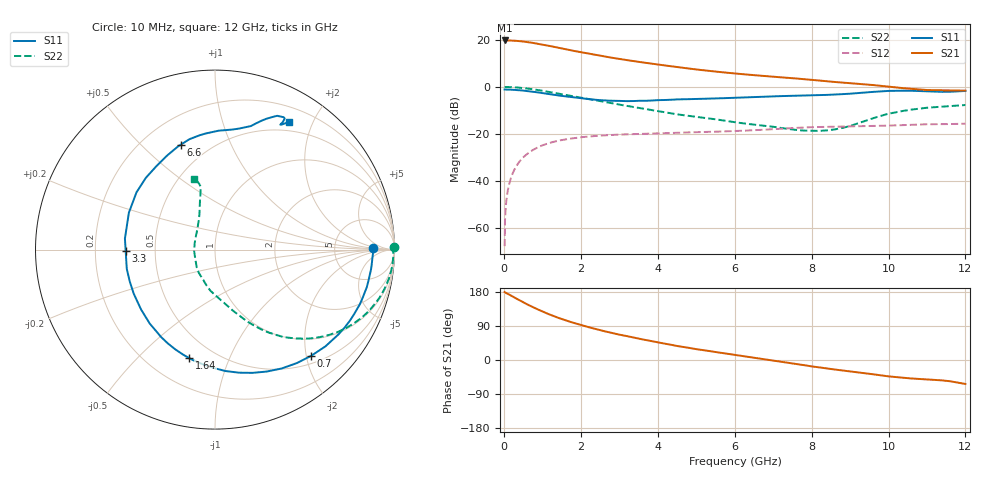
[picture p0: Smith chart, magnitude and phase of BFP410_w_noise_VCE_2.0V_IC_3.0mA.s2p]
! Infineon Technologies  Discrete & RF Semiconductors
! BFP410
! VCE =  2.0 V,  IC =  3.0 mA
! Common Emitter S-Parameters:  Nov 2015
# GHz  S  MA  R  50
!  f  S11  S21  S12  S22
! GHz  MAG  ANG  MAG  ANG  MAG  ANG  MAG  ANG
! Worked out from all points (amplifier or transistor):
!   243 points, 10 MHz to 12 GHz, reference 50 ohm
!   highest |S21| = 19.8 dB at 20 MHz (marker M1)
!   |S21| within 3 dB of that: start of sweep to 1.373 GHz
!   unconditionally stable (mu >= 1): 3.641 GHz to end of sweep
!   at 240 MHz: K = 0.06, MSG = 27.9 dB, |S12| = -36.1 dB
!   at 1.84 GHz: K = 0.47, MSG = 18.5 dB, |S12| = -21.8 dB
!   at 12 GHz: K = 1.11, MAG = 5.0 dB, |S12| = -15.7 dB
!   lowest NFmin = 0.87 dB at 900 MHz
!   S11 on the Smith chart (normalised r, x): 10 MHz: 16, +1; 700 MHz: 0.64, -2.09; 1.64 GHz: 0.37, -0.72; 3.3 GHz: 0.34, -0.01; 6.6 GHz: 0.35, +0.66; 12 GHz: 0.38, +1.67
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0.01  0.8824 0.6  9.774 179.4  0.0004 -150.9  0.9967 0.9
0.015  0.8817 -0.1  9.788 179.1  0.0006 108.8  0.9937 0.4
0.02  0.8812 -0.8  9.803 178.8  0.0014 92.5  0.9907 -0.2
0.05  0.8781 -3.1  9.755 176.6  0.0035 89.2  0.9946 -1.5
0.115  0.8755 -7.9  9.779 173.4  0.0076 85.9  0.9928 -4.1
0.34  0.857 -23.5  9.586 160.9  0.022 77.7  0.9717 -12.4
0.52  0.8303 -35.8  9.248 151.0  0.0329 71.4  0.9409 -18.7
0.7  0.7984 -47.8  8.833 141.8  0.0428 65.4  0.9026 -24.7
0.9  0.7594 -60.7  8.28 132.2  0.0525 59.1  0.853 -30.7
1.1  0.7178 -73.1  7.711 123.4  0.0609 53.5  0.8001 -36.2
1.4  0.6597 -90.6  6.865 111.5  0.0708 46.0  0.7222 -43.3
1.64  0.6206 -103.5  6.272 103.1  0.077 40.9  0.6656 -47.9
2.02  0.5694 -122.5  5.448 91.7  0.0847 34.4  0.5873 -54.2
2.62  0.5153 -151.4  4.445 75.6  0.0928 25.8  0.476 -62.7
3.3  0.4978 -179.3  3.62 60.7  0.098 19.1  0.3807 -70.8
4.1  0.5237 154.2  2.932 44.6  0.1033 13.5  0.2948 -81.4
5  0.5555 133.8  2.357 28.6  0.1082 8.5  0.2294 -96.6
6.1  0.5921 115.4  1.904 12.0  0.1152 4.2  0.172 -115.3
6.6  0.6148 108.1  1.755 4.5  0.1203 2.3  0.1536 -127.4
8.2  0.6683 85.0  1.368 -19.5  0.1395 -8.1  0.1153 173.9
10.2  0.8262 63.8  0.976 -45.0  0.1515 -19.3  0.289 106.8
12  0.82 60.0  0.833 -63.2  0.1643 -32.4  0.411 106.2
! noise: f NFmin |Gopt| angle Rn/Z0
0.45  0.92  0.39  6  0.24
0.9  0.87  0.38  20  0.22
1.8  1.07  0.29  53  0.19
2.4  1.11  0.25  58  0.19
5.5  2.12  0.33  -139  0.2
10  3.64  0.68  -55  1.98
